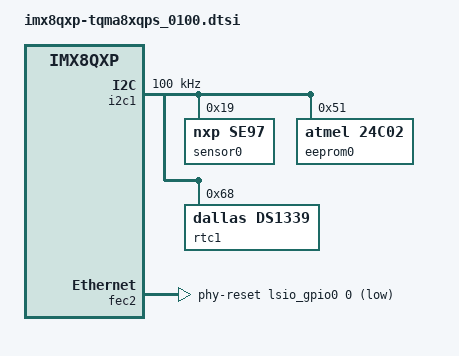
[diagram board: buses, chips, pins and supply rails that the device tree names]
// SPDX-License-Identifier: (GPL-2.0+ OR MIT)
/*
 * Copyright 2018-2020 TQ Systems GmbH
 */

/delete-node/ &rtc1;
/delete-node/ &sensor0;
/delete-node/ &eeprom0;
/delete-node/ &pinctrl_fec2;

&i2c0 {
	status = "disabled";
};

&i2c1 {
	#address-cells = <1>;
	#size-cells = <0>;
	clock-frequency = <100000>;
	pinctrl-names = "default";
	pinctrl-0 = <&pinctrl_lpi2c1>;
	status = "okay";
	/*
	 * NXP SE97BTP with temperature sensor + eeprom
	 */
	sensor0: tempsensor@19 {
		compatible = "nxp,se97", "jedec,jc-42.4-temp";
		reg = <0x19>;
		status = "okay";
	};

	eeprom0: eeprom@51 {
		compatible = "atmel,24c02";
		reg = <0x51>;
		pagesize = <16>;
		status = "okay";
	};

	rtc1: rtc@68 {
		compatible = "dallas,ds1339", "dallas,ds1337";
		reg = <0x68>;
	};
};

&fec2 {
	phy-reset-gpios = <&lsio_gpio0 0 GPIO_ACTIVE_LOW>;
};

&iomuxc {
	pinctrl_lpi2c1: lpi2c1grp {
		fsl,pins = <
			IMX8QXP_MIPI_DSI0_GPIO0_00_ADMA_I2C1_SCL	0x06000020
			IMX8QXP_MIPI_DSI0_GPIO0_01_ADMA_I2C1_SDA	0x06000020
		>;
	};

	pinctrl_fec2: fec2grp {
		fsl,pins = <
			IMX8QXP_ESAI0_SCKR_CONN_ENET1_RGMII_TX_CTL	0x06000048
			IMX8QXP_ESAI0_FSR_CONN_ENET1_RGMII_TXC		0x06000048
			IMX8QXP_ESAI0_TX4_RX1_CONN_ENET1_RGMII_TXD0	0x06000048
			IMX8QXP_ESAI0_TX5_RX0_CONN_ENET1_RGMII_TXD1	0x06000048
			IMX8QXP_ESAI0_FST_CONN_ENET1_RGMII_TXD2		0x06000048
			IMX8QXP_ESAI0_SCKT_CONN_ENET1_RGMII_TXD3	0x06000048
			IMX8QXP_ESAI0_TX0_CONN_ENET1_RGMII_RXC		0x06000048
			IMX8QXP_SPDIF0_TX_CONN_ENET1_RGMII_RX_CTL	0x06000048
			IMX8QXP_SPDIF0_RX_CONN_ENET1_RGMII_RXD0		0x06000048
			IMX8QXP_ESAI0_TX3_RX2_CONN_ENET1_RGMII_RXD1	0x06000048
			IMX8QXP_ESAI0_TX2_RX3_CONN_ENET1_RGMII_RXD2	0x06000048
			IMX8QXP_ESAI0_TX1_CONN_ENET1_RGMII_RXD3		0x06000048

			IMX8QXP_MIPI_CSI0_GPIO0_00_MIPI_CSI0_GPIO0_IO00	0x00000048
		>;
	};
};
